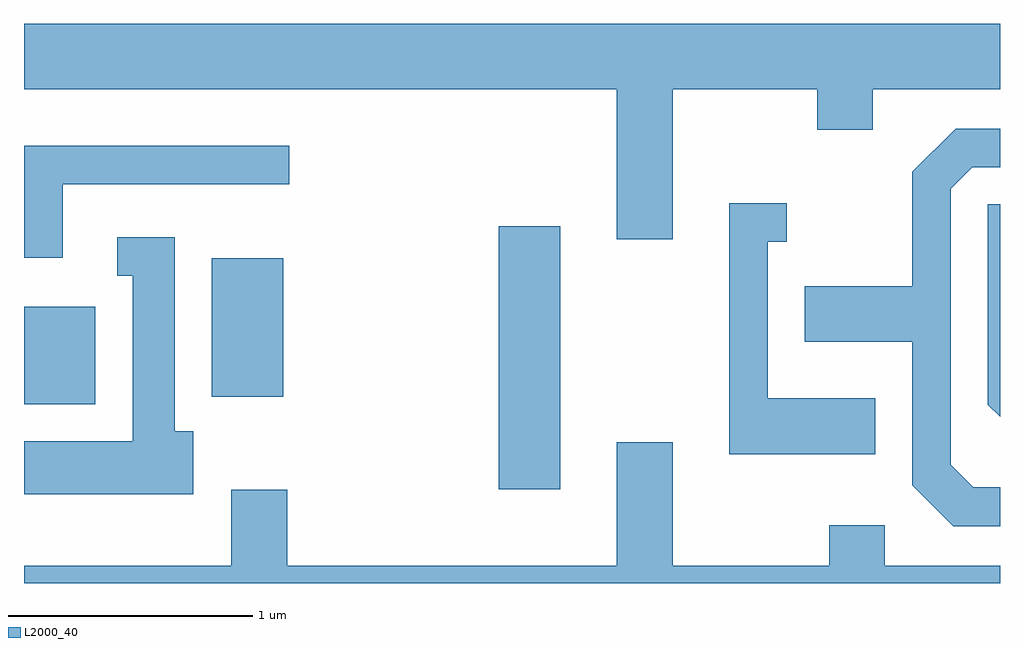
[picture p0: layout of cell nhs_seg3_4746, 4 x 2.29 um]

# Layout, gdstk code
import gdstk
lib = gdstk.Library(unit=1e-6, precision=1e-09)
def R(c, l, rs):  # rectangles x0, y0, x1, y1
    for r in rs: c.add(gdstk.rectangle(r[:2], r[2:], *l))
def P(c, l, *ps):  # polygons
    for p in ps: c.add(gdstk.Polygon(p, *l))
L2000_40 = (2000, 40)

nhs_seg3_4746 = lib.new_cell('nhs_seg3_4746')
R(nhs_seg3_4746, L2000_40, [(325.556,1224.276,325.809,1225.354), (323.611,1224.626,323.904,1225.024), (324.381,1224.656,324.674,1225.224)])
P(nhs_seg3_4746, L2000_40, [(326.269,1225.916),(326.861,1225.916),(326.861,1225.751),(327.089,1225.751),(327.089,1225.916),(327.611,1225.916),(327.611,1226.184),(323.611,1226.184),(323.611,1225.916),(326.041,1225.916),(326.041,1225.301),(326.269,1225.301)],
  [(327.611,1224.284),(327.502,1224.284),(327.409,1224.377),(327.409,1225.509),(327.497,1225.596),(327.611,1225.596),(327.611,1225.754),(327.429,1225.754),(327.251,1225.577),(327.251,1225.109),(326.811,1225.109),(326.811,1224.881),(327.251,1224.881),(327.251,1224.294),(327.419,1224.126),(327.611,1224.126)],
  [(323.769,1225.526),(324.698,1225.526),(324.698,1225.684),(323.611,1225.684),(323.611,1225.226),(323.769,1225.226)],
  [(327.099,1224.649),(326.659,1224.649),(326.659,1225.291),(326.738,1225.291),(326.738,1225.449),(326.501,1225.449),(326.501,1224.421),(327.099,1224.421)],
  [(327.611,1225.444),(327.561,1225.444),(327.561,1224.624),(327.611,1224.574)],
  [(324.304,1224.514),(324.229,1224.514),(324.229,1225.309),(323.993,1225.309),(323.993,1225.151),(324.056,1225.151),(324.056,1224.474),(323.611,1224.474),(323.611,1224.256),(324.304,1224.256)],
  [(326.041,1224.469),(326.041,1223.964),(324.689,1223.964),(324.689,1224.274),(324.461,1224.274),(324.461,1223.964),(323.611,1223.964),(323.611,1223.892),(327.611,1223.892),(327.611,1223.964),(327.139,1223.964),(327.139,1224.129),(326.911,1224.129),(326.911,1223.964),(326.269,1223.964),(326.269,1224.469)])

lib.write_gds('nhs_seg3_4746.gds')
